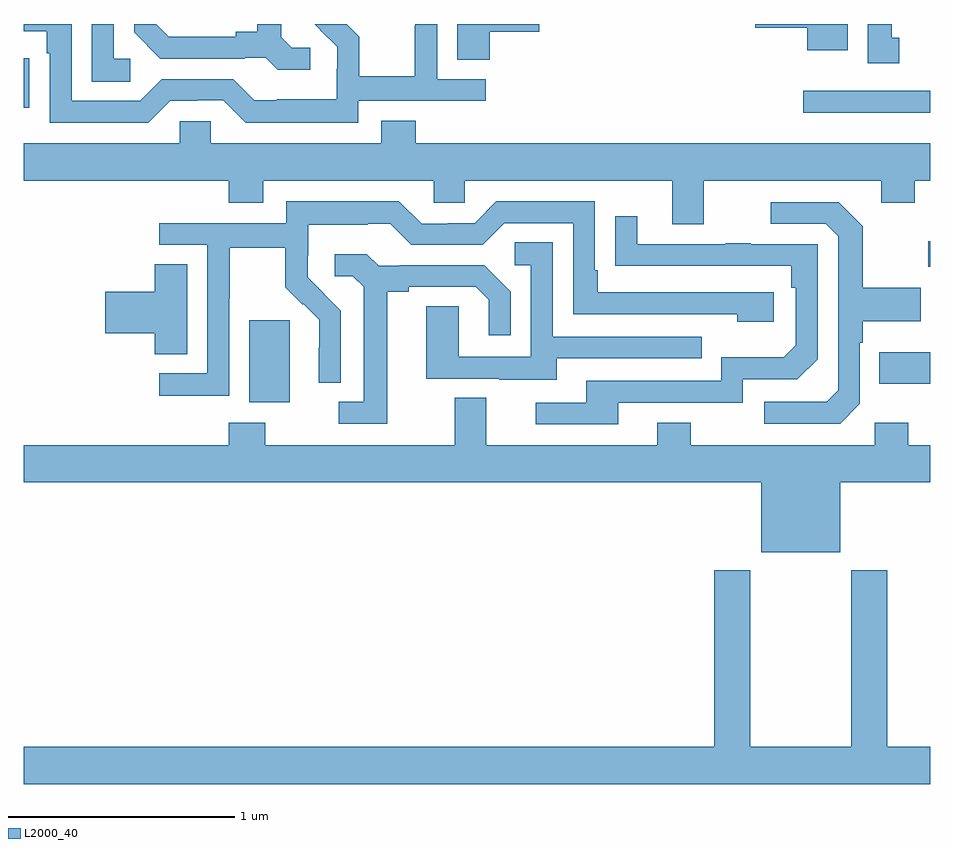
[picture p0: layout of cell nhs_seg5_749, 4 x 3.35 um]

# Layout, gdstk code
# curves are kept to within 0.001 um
import gdstk
lib = gdstk.Library(unit=1e-6, precision=1e-09)
def R(c, l, rs):  # rectangles x0, y0, x1, y1
    for r in rs: c.add(gdstk.rectangle(r[:2], r[2:], *l))
def P(c, l, *ps):  # polygons
    for p in ps: c.add(gdstk.Polygon(p, *l))
L2000_40 = (2000, 40)

nhs_seg5_749 = lib.new_cell('nhs_seg5_749')
R(nhs_seg5_749, L2000_40, [(159.995,841.13,160.174,841.491), (162.775,841.211,163,841.351), (162.993,841.727,163,841.84), (162.441,842.408,163,842.505), (159,842.43,159.023,842.648)])
P(nhs_seg5_749, L2000_40, [(161.057,842.765),(161.275,842.765),(161.275,842.799),(160.913,842.799),(160.913,842.641),(161.057,842.641)],
  [(162.637,842.799),(162.228,842.799),(162.228,842.783),(162.458,842.783),(162.458,842.684),(162.637,842.684)],
  [(160.476,842.46),(161.038,842.46),(161.038,842.556),(160.824,842.556),(160.824,842.799),(160.728,842.799),(160.728,842.792),(160.726,842.792),(160.726,842.569),(160.481,842.569),(160.481,842.743),(160.425,842.799),(160.283,842.799),(160.309,842.773),(160.308,842.772),(160.382,842.698),(160.382,842.601),(160.38,842.601),(160.38,842.467),(160.117,842.467),(160.117,842.463),(160.017,842.463),(159.924,842.556),(159.609,842.556),(159.513,842.46),(159.21,842.46),(159.21,842.799),(159,842.799),(159,842.766),(159.101,842.766),(159.101,842.669),(159.114,842.669),(159.114,842.364),(159.549,842.364),(159.645,842.46),(159.764,842.46),(159.764,842.463),(159.879,842.463),(159.979,842.363),(160.476,842.363)],
  [(160.264,842.694),(160.182,842.694),(160.135,842.741),(160.135,842.799),(160.031,842.799),(160.031,842.765),(159.935,842.765),(159.935,842.742),(159.64,842.742),(159.583,842.799),(159.486,842.799),(159.486,842.762),(159.602,842.646),(159.974,842.646),(159.974,842.649),(160.068,842.649),(160.12,842.597),(160.264,842.597)],
  [(162.865,842.738),(162.832,842.738),(162.832,842.799),(162.725,842.799),(162.725,842.625),(162.865,842.625)],
  [(159.469,842.646),(159.396,842.646),(159.396,842.799),(159.3,842.799),(159.3,842.545),(159.469,842.545)],
  [(162.001,842.108),(162.785,842.108),(162.785,842.009),(162.933,842.009),(162.933,842.108),(163,842.108),(163,842.272),(160.73,842.272),(160.73,842.371),(160.577,842.371),(160.577,842.272),(159.825,842.272),(159.825,842.37),(159.687,842.37),(159.687,842.272),(159,842.272),(159,842.108),(159.905,842.108),(159.905,842.009),(160.057,842.009),(160.057,842.108),(160.809,842.108),(160.809,842.01),(160.947,842.01),(160.947,842.108),(161.861,842.108),(161.861,841.914),(162.001,841.914)],
  [(159.906,841.588),(159.909,841.588),(159.909,841.812),(160.153,841.812),(160.153,841.637),(160.23,841.56),(160.233,841.563),(160.304,841.493),(160.304,841.37),(160.302,841.37),(160.302,841.216),(160.398,841.216),(160.398,841.534),(160.252,841.682),(160.252,841.779),(160.254,841.779),(160.254,841.913),(160.517,841.913),(160.517,841.917),(160.617,841.917),(160.71,841.824),(161.025,841.824),(161.121,841.92),(161.424,841.92),(161.424,841.518),(162.149,841.518),(162.149,841.484),(162.31,841.484),(162.31,841.614),(161.533,841.614),(161.533,841.711),(161.52,841.711),(161.52,842.016),(161.085,842.016),(160.989,841.92),(160.871,841.92),(160.871,841.917),(160.755,841.917),(160.655,842.017),(160.158,842.017),(160.158,841.92),(159.597,841.92),(159.597,841.824),(159.81,841.824),(159.81,841.257),(159.597,841.257),(159.597,841.159),(159.906,841.159)],
  [(162.69,841.122),(162.69,841.391),(162.703,841.391),(162.703,841.487),(162.959,841.487),(162.959,841.635),(162.703,841.635),(162.703,841.907),(162.597,842.013),(162.297,842.013),(162.297,841.917),(162.54,841.917),(162.594,841.863),(162.594,841.182),(162.543,841.131),(162.267,841.131),(162.267,841.035),(162.603,841.035)],
  [(161.623,841.128),(162.174,841.128),(162.174,841.23),(162.414,841.23),(162.504,841.32),(162.504,841.827),(162.209,841.827),(162.209,841.832),(162.097,841.832),(162.097,841.827),(161.707,841.827),(161.707,841.951),(161.611,841.951),(161.611,841.732),(162.388,841.731),(162.388,841.634),(162.408,841.634),(162.408,841.38),(162.355,841.327),(162.078,841.327),(162.078,841.224),(161.483,841.224),(161.483,841.128),(161.259,841.128),(161.259,841.032),(161.623,841.032)],
  [(161.353,841.323),(161.993,841.323),(161.993,841.419),(161.334,841.419),(161.334,841.835),(161.166,841.835),(161.166,841.734),(161.238,841.734),(161.238,841.329),(160.92,841.329),(160.92,841.553),(160.775,841.553),(160.775,841.233),(161.099,841.233),(161.099,841.229),(161.353,841.229)],
  [(160.603,841.616),(160.699,841.616),(160.699,841.638),(160.994,841.638),(161.051,841.581),(161.051,841.425),(161.148,841.425),(161.148,841.618),(161.032,841.734),(160.66,841.734),(160.66,841.731),(160.566,841.731),(160.514,841.783),(160.371,841.783),(160.371,841.686),(160.452,841.686),(160.499,841.639),(160.499,841.131),(160.389,841.131),(160.389,841.035),(160.603,841.035)],
  [(159.721,841.739),(159.578,841.739),(159.578,841.616),(159.36,841.616),(159.36,841.433),(159.578,841.433),(159.578,841.342),(159.721,841.342)],
  [(162.604,840.776),(163,840.776),(163,840.94),(162.903,840.94),(162.903,841.039),(162.756,841.039),(162.756,840.94),(161.943,840.94),(161.943,841.039),(161.795,841.039),(161.795,840.94),(161.041,840.94),(161.041,841.148),(160.901,841.148),(160.901,840.94),(160.065,840.94),(160.065,841.039),(159.905,841.039),(159.905,840.94),(159,840.94),(159,840.776),(162.254,840.776),(162.254,840.467),(162.604,840.467)],
  [(163,839.608),(162.812,839.608),(162.812,840.388),(162.652,840.388),(162.652,839.608),(162.207,839.608),(162.207,840.388),(162.047,840.388),(162.047,839.608),(159,839.608),(159,839.444),(163,839.444)])

lib.write_gds('nhs_seg5_749.gds')
